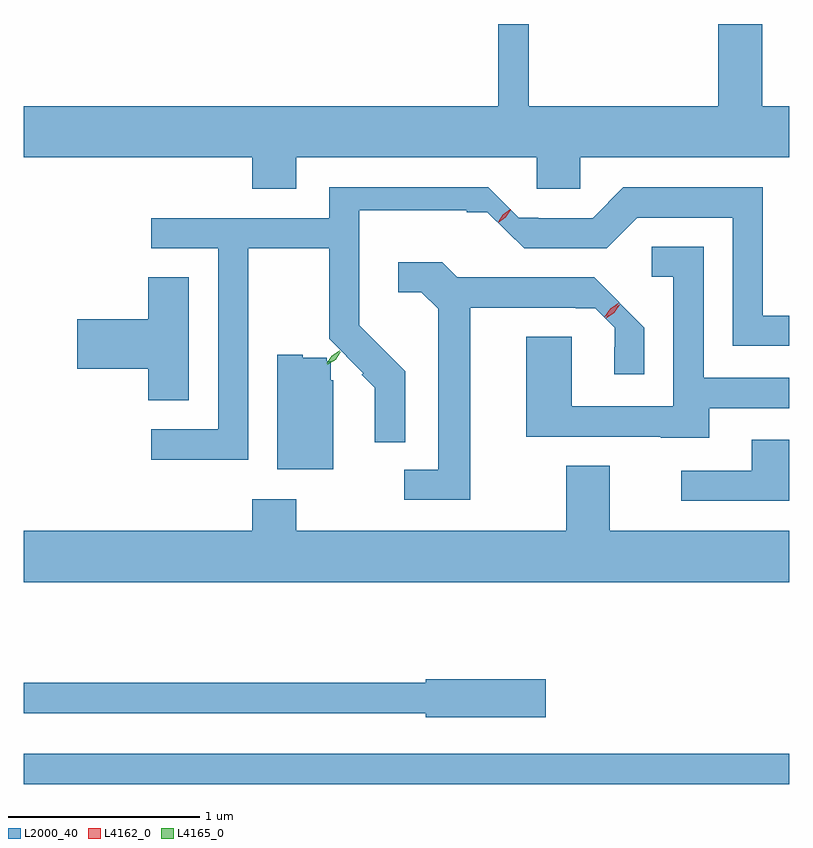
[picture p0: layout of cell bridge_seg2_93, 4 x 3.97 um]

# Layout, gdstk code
import gdstk
lib = gdstk.Library(unit=1e-6, precision=1e-09)
def R(c, l, rs):  # rectangles x0, y0, x1, y1
    for r in rs: c.add(gdstk.rectangle(r[:2], r[2:], *l))
def P(c, l, *ps):  # polygons
    for p in ps: c.add(gdstk.Polygon(p, *l))
L2000_40 = (2000, 40)
L4162_0 = (4162, 0)
L4165_0 = (4165, 0)

bridge_seg2_93 = lib.new_cell('bridge_seg2_93')
R(bridge_seg2_93, L2000_40, [(1244.726,987.321,1248.726,987.479)])
P(bridge_seg2_93, L2000_40, [(1246.149,990.596),(1247.406,990.596),(1247.406,990.431),(1247.634,990.431),(1247.634,990.596),(1248.726,990.596),(1248.726,990.864),(1248.584,990.864),(1248.584,991.293),(1248.356,991.293),(1248.356,990.864),(1247.364,990.864),(1247.364,991.293),(1247.206,991.293),(1247.206,990.864),(1244.726,990.864),(1244.726,990.596),(1245.921,990.596),(1245.921,990.431),(1246.149,990.431)],
  [(1245.899,990.121),(1246.321,990.121),(1246.321,989.647),(1246.5,989.468),(1246.492,989.46),(1246.561,989.391),(1246.561,989.108),(1246.719,989.108),(1246.719,989.479),(1246.479,989.719),(1246.479,990.319),(1247.042,990.319),(1247.042,990.308),(1247.149,990.308),(1247.249,990.209),(1247.251,990.211),(1247.341,990.121),(1247.772,990.121),(1247.932,990.281),(1248.431,990.281),(1248.431,989.611),(1248.726,989.611),(1248.726,989.769),(1248.589,989.769),(1248.589,990.439),(1247.859,990.439),(1247.699,990.279),(1247.415,990.279),(1247.415,990.281),(1247.312,990.281),(1247.154,990.439),(1246.321,990.439),(1246.321,990.279),(1245.393,990.279),(1245.393,990.121),(1245.741,990.121),(1245.741,989.174),(1245.393,989.174),(1245.393,989.016),(1245.899,989.016)],
  [(1248.309,989.286),(1248.726,989.286),(1248.726,989.444),(1248.279,989.444),(1248.279,990.129),(1248.008,990.129),(1248.008,989.971),(1248.121,989.971),(1248.121,989.294),(1247.589,989.294),(1247.589,989.659),(1247.351,989.659),(1247.351,989.136),(1248.055,989.136),(1248.055,989.131),(1248.309,989.131)],
  [(1247.059,989.811),(1247.61,989.811),(1247.61,989.808),(1247.712,989.808),(1247.815,989.705),(1247.815,989.604),(1247.811,989.604),(1247.811,989.463),(1247.969,989.463),(1247.969,989.706),(1247.706,989.969),(1246.992,989.969),(1246.912,990.049),(1246.683,990.049),(1246.683,989.891),(1246.804,989.891),(1246.891,989.804),(1246.891,988.964),(1246.713,988.964),(1246.713,988.806),(1247.059,988.806)],
  [(1245.589,989.969),(1245.376,989.969),(1245.376,989.749),(1245.006,989.749),(1245.006,989.491),(1245.376,989.491),(1245.376,989.326),(1245.589,989.326)],
  [(1246.344,989.43),(1246.33,989.43),(1246.33,989.53),(1246.31,989.53),(1246.31,989.548),(1246.183,989.548),(1246.183,989.564),(1246.051,989.564),(1246.051,988.966),(1246.344,988.966)],
  [(1248.726,989.119),(1248.531,989.119),(1248.531,988.959),(1248.163,988.959),(1248.163,988.801),(1248.726,988.801)],
  [(1248.726,988.644),(1247.789,988.644),(1247.789,988.984),(1247.561,988.984),(1247.561,988.644),(1246.149,988.644),(1246.149,988.809),(1245.921,988.809),(1245.921,988.644),(1244.726,988.644),(1244.726,988.376),(1248.726,988.376)],
  [(1247.454,987.869),(1246.826,987.869),(1246.826,987.849),(1244.726,987.849),(1244.726,987.691),(1246.826,987.691),(1246.826,987.671),(1247.454,987.671)])
P(bridge_seg2_93, L4162_0, [(1247.206,990.254),(1247.206,990.254),(1247.23,990.296),(1247.269,990.324),(1247.27,990.324),(1247.27,990.323),(1247.245,990.282),(1247.206,990.254)],
  [(1247.207,990.26),(1247.207,990.261),(1247.229,990.297),(1247.264,990.32),(1247.265,990.32),(1247.265,990.32),(1247.243,990.283),(1247.208,990.26)],
  [(1247.759,989.76),(1247.759,989.761),(1247.79,989.805),(1247.835,989.836),(1247.836,989.836),(1247.836,989.836),(1247.804,989.791),(1247.76,989.76)],
  [(1247.77,989.756),(1247.77,989.757),(1247.798,989.798),(1247.839,989.826),(1247.84,989.826),(1247.84,989.825),(1247.812,989.784),(1247.771,989.756)])
P(bridge_seg2_93, L4165_0, [(1246.312,989.512),(1246.312,989.512),(1246.341,989.553),(1246.382,989.581),(1246.383,989.581),(1246.383,989.58),(1246.355,989.539),(1246.313,989.512)],
  [(1246.31,989.519),(1246.31,989.519),(1246.336,989.559),(1246.375,989.585),(1246.376,989.585),(1246.376,989.584),(1246.35,989.545),(1246.311,989.519)])

lib.write_gds('bridge_seg2_93.gds')
